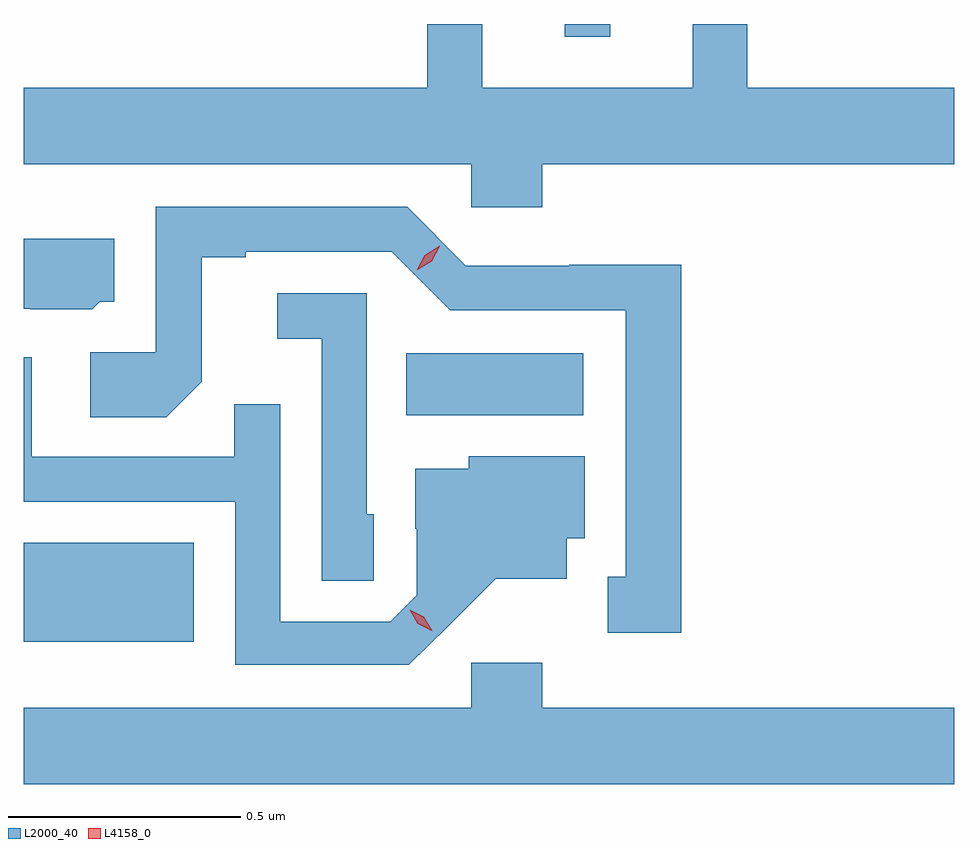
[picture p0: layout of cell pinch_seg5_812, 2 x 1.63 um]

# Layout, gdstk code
import gdstk
lib = gdstk.Library(unit=1e-6, precision=1e-09)
def R(c, l, rs):  # rectangles x0, y0, x1, y1
    for r in rs: c.add(gdstk.rectangle(r[:2], r[2:], *l))
def P(c, l, *ps):  # polygons
    for p in ps: c.add(gdstk.Polygon(p, *l))
L2000_40 = (2000, 40)
L4158_0 = (4158, 0)

pinch_seg5_812 = lib.new_cell('pinch_seg5_812')
R(pinch_seg5_812, L2000_40, [(759.478,911.678,759.844,911.89), (760.3,912.164,760.681,912.298), (760.641,912.978,760.738,913.005)])
P(pinch_seg5_812, L2000_40, [(760.592,912.704),(761.478,912.704),(761.478,912.868),(761.033,912.868),(761.033,913.005),(760.916,913.005),(760.916,912.868),(760.463,912.868),(760.463,913.005),(760.345,913.005),(760.345,912.868),(759.478,912.868),(759.478,912.704),(760.44,912.704),(760.44,912.611),(760.592,912.611)],
  [(760.891,912.488),(760.65,912.488),(760.65,912.486),(760.428,912.486),(760.302,912.612),(759.762,912.612),(759.762,912.3),(759.621,912.3),(759.621,912.16),(759.785,912.16),(759.861,912.236),(759.861,912.504),(759.955,912.504),(759.955,912.516),(760.269,912.516),(760.395,912.39),(760.772,912.39),(760.772,911.817),(760.733,911.817),(760.733,911.697),(760.891,911.697)],
  [(759.642,912.408),(759.673,912.408),(759.673,912.544),(759.478,912.544),(759.478,912.393),(759.492,912.393),(759.492,912.392),(759.626,912.392)],
  [(760.23,911.952),(760.215,911.952),(760.215,912.426),(760.023,912.426),(760.023,912.329),(760.119,912.329),(760.119,911.809),(760.23,911.809)],
  [(760.39,911.711),(760.493,911.813),(760.645,911.813),(760.645,911.9),(760.684,911.9),(760.684,912.076),(760.434,912.076),(760.434,912.049),(760.319,912.049),(760.319,911.92),(760.323,911.92),(760.323,911.778),(760.266,911.721),(760.029,911.721),(760.029,912.188),(759.931,912.188),(759.931,912.075),(759.495,912.075),(759.495,912.289),(759.478,912.289),(759.478,911.979),(759.933,911.979),(759.933,911.628),(760.306,911.628)],
  [(761.478,911.536),(760.592,911.536),(760.592,911.632),(760.44,911.632),(760.44,911.536),(759.478,911.536),(759.478,911.372),(761.478,911.372)])
P(pinch_seg5_812, L4158_0, [(760.323,912.476),(760.323,912.476),(760.34,912.508),(760.372,912.528),(760.372,912.528),(760.372,912.527),(760.355,912.495),(760.323,912.476)],
  [(760.355,911.701),(760.325,911.716),(760.308,911.746),(760.308,911.746),(760.308,911.746),(760.338,911.731),(760.356,911.701),(760.356,911.701)])

lib.write_gds('pinch_seg5_812.gds')
